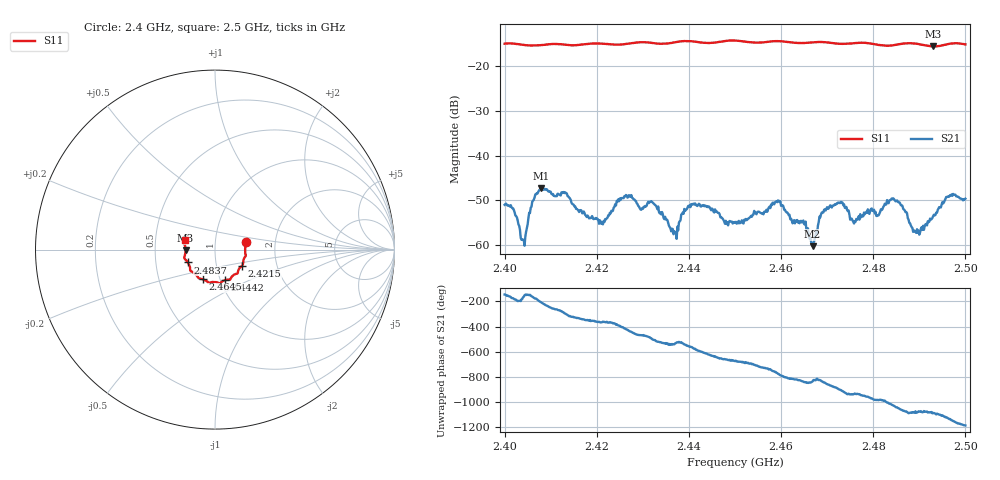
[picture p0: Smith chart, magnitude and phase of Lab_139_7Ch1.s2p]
# Hz S RI R 50
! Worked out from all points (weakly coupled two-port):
!   601 points, 2.4 GHz to 2.5 GHz, reference 50 ohm
!   highest |S21| = -47.24 dB at 2.408 GHz (marker M1); lowest = -60.2 dB at 2.4668 GHz (marker M2)
!   lowest |S11| = -15.7 dB at 2.493 GHz (marker M3), VSWR 1.39, Z = 35.9 - j0.208 ohm
!   |S11| at or under -10 dB: start of sweep to end of sweep
!   S12 and S22 are empty: the file has one direction only
!   S11 on the Smith chart (normalised r, x): 2.4 GHz: 1.41, +0.12; 2.4215 GHz: 1.33, -0.25; 2.4442 GHz: 1.05, -0.37; 2.4645 GHz: 0.83, -0.29; 2.4837 GHz: 0.73, -0.11; 2.5 GHz: 0.71, +0.07
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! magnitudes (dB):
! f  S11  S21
! 2.4 GHz  -15.1  -51.0
! 2.404 GHz  -15.4  -58.7
! 2.408 GHz  -15.4  -47.2
! 2.4167 GHz  -15.3  -52.2
! 2.4215 GHz  -15.1  -54.5
! 2.4265 GHz  -15.1  -48.9
! 2.4333 GHz  -15.1  -51.3
! 2.4368 GHz  -14.8  -56.9
! 2.4402 GHz  -14.5  -51.0
! 2.4442 GHz  -15.0  -51.5
! 2.45 GHz  -14.4  -55.0
! 2.4593 GHz  -14.5  -50.0
! 2.4645 GHz  -15.0  -54.9
! 2.4667 GHz  -14.8  -59.9
! 2.4668 GHz  -14.8  -60.2
! 2.4703 GHz  -14.9  -51.8
! 2.476 GHz  -15.0  -54.6
! 2.4833 GHz  -15.6  -50.6
! 2.4837 GHz  -15.5  -49.9
! 2.4892 GHz  -15.1  -56.8
! 2.493 GHz  -15.7  -53.5
! 2.5 GHz  -15.3  -49.6
